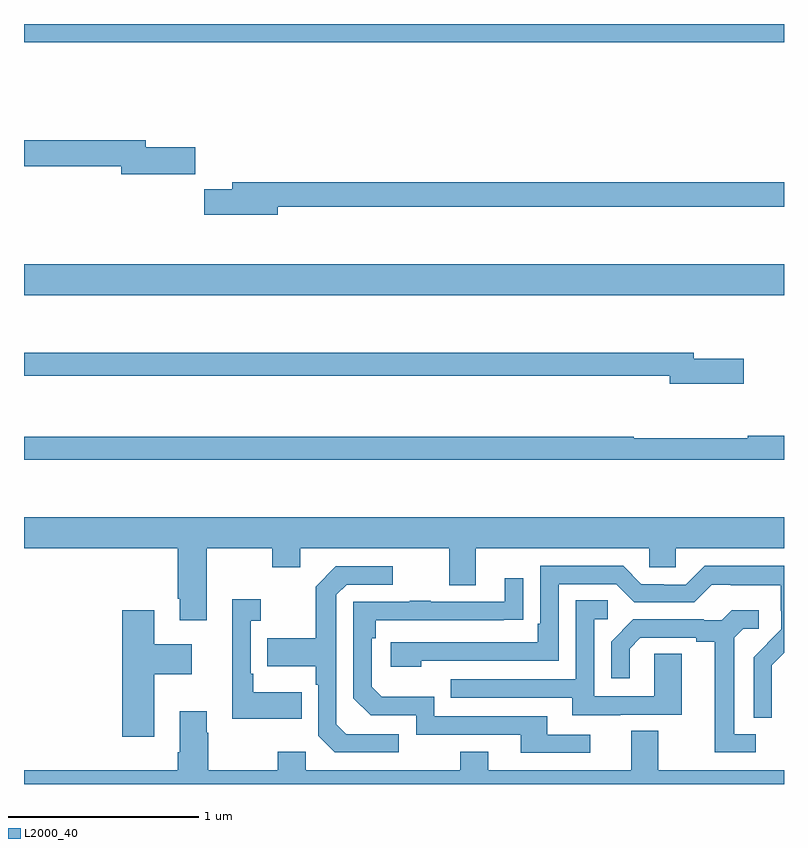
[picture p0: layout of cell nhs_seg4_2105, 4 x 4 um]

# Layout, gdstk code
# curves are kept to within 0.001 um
import gdstk
lib = gdstk.Library(unit=1e-6, precision=1e-09)
def R(c, l, rs):  # rectangles x0, y0, x1, y1
    for r in rs: c.add(gdstk.rectangle(r[:2], r[2:], *l))
def P(c, l, *ps):  # polygons
    for p in ps: c.add(gdstk.Polygon(p, *l))
L2000_40 = (2000, 40)

nhs_seg4_2105 = lib.new_cell('nhs_seg4_2105')
R(nhs_seg4_2105, L2000_40, [(219,811.472,223,811.636), (219,812.804,223,812.9)])
P(nhs_seg4_2105, L2000_40, [(219.901,812.252),(219.64,812.252),(219.64,812.288),(219,812.288),(219,812.152),(219.512,812.152),(219.512,812.11),(219.901,812.11)],
  [(220.336,811.938),(223,811.938),(223,812.066),(220.097,812.066),(220.097,812.03),(219.948,812.03),(219.948,811.895),(220.336,811.895)],
  [(222.787,811.137),(222.526,811.137),(222.526,811.171),(219,811.171),(219,811.05),(222.398,811.05),(222.398,811.007),(222.787,811.007)],
  [(223,810.734),(222.808,810.734),(222.808,810.719),(222.208,810.719),(222.208,810.727),(219,810.727),(219,810.606),(223,810.606)],
  [(219.961,810.14),(220.306,810.14),(220.306,810.041),(220.453,810.041),(220.453,810.14),(221.237,810.14),(221.237,809.946),(221.377,809.946),(221.377,810.14),(222.291,810.14),(222.291,810.042),(222.429,810.042),(222.429,810.14),(223,810.14),(223,810.304),(219,810.304),(219,810.14),(219.809,810.14),(219.809,809.875),(219.821,809.875),(219.821,809.763),(219.961,809.763)],
  [(222.936,809.402),(222.935,809.525),(223,809.59),(223,810.049),(222.583,810.049),(222.483,809.949),(222.368,809.949),(222.368,809.952),(222.249,809.952),(222.153,810.048),(221.718,810.048),(221.718,809.743),(221.705,809.743),(221.705,809.646),(220.929,809.646),(220.929,809.516),(221.09,809.516),(221.09,809.55),(221.814,809.55),(221.814,809.952),(222.117,809.952),(222.213,809.856),(222.528,809.856),(222.621,809.949),(222.721,809.949),(222.721,809.945),(222.984,809.945),(222.984,809.811),(222.986,809.811),(222.986,809.714),(222.84,809.566),(222.84,809.248),(222.936,809.248)],
  [(220.972,809.163),(220.695,809.163),(220.644,809.214),(220.644,809.895),(220.698,809.949),(220.942,809.949),(220.942,810.045),(220.641,810.045),(220.536,809.939),(220.536,809.667),(220.279,809.667),(220.279,809.519),(220.536,809.519),(220.536,809.423),(220.548,809.423),(220.548,809.154),(220.635,809.067),(220.972,809.067)],
  [(221.98,809.16),(221.755,809.16),(221.755,809.256),(221.16,809.256),(221.16,809.359),(220.883,809.359),(220.83,809.412),(220.83,809.666),(220.85,809.666),(220.85,809.763),(221.627,809.764),(221.627,809.983),(221.531,809.983),(221.531,809.859),(221.141,809.859),(221.141,809.864),(221.029,809.864),(221.029,809.859),(220.734,809.859),(220.734,809.352),(220.824,809.262),(221.064,809.262),(221.064,809.16),(221.615,809.16),(221.615,809.064),(221.98,809.064)],
  [(220.463,809.383),(220.207,809.383),(220.207,809.479),(220.194,809.479),(220.194,809.759),(220.246,809.759),(220.246,809.872),(220.097,809.872),(220.097,809.243),(220.463,809.243)],
  [(222.139,809.265),(222.463,809.265),(222.463,809.585),(222.318,809.585),(222.318,809.361),(222,809.361),(222,809.766),(222.073,809.766),(222.073,809.867),(221.904,809.867),(221.904,809.451),(221.245,809.451),(221.245,809.355),(221.885,809.355),(221.885,809.261),(222.139,809.261)],
  [(219.685,809.477),(219.883,809.477),(219.883,809.635),(219.685,809.635),(219.685,809.815),(219.518,809.815),(219.518,809.148),(219.685,809.148)],
  [(222.85,809.163),(222.739,809.163),(222.739,809.671),(222.786,809.718),(222.868,809.718),(222.868,809.815),(222.724,809.815),(222.672,809.763),(222.578,809.763),(222.578,809.766),(222.206,809.766),(222.09,809.65),(222.09,809.457),(222.187,809.457),(222.187,809.613),(222.244,809.67),(222.539,809.67),(222.539,809.648),(222.635,809.648),(222.635,809.067),(222.85,809.067)],
  [(223,808.972),(222.337,808.972),(222.337,809.18),(222.197,809.18),(222.197,808.972),(221.443,808.972),(221.443,809.071),(221.296,809.071),(221.296,808.972),(220.482,808.972),(220.482,809.071),(220.336,809.071),(220.336,808.972),(219.969,808.972),(219.969,809.171),(219.961,809.171),(219.961,809.284),(219.821,809.284),(219.821,809.068),(219.809,809.068),(219.809,808.972),(219,808.972),(219,808.9),(223,808.9)])

lib.write_gds('nhs_seg4_2105.gds')
